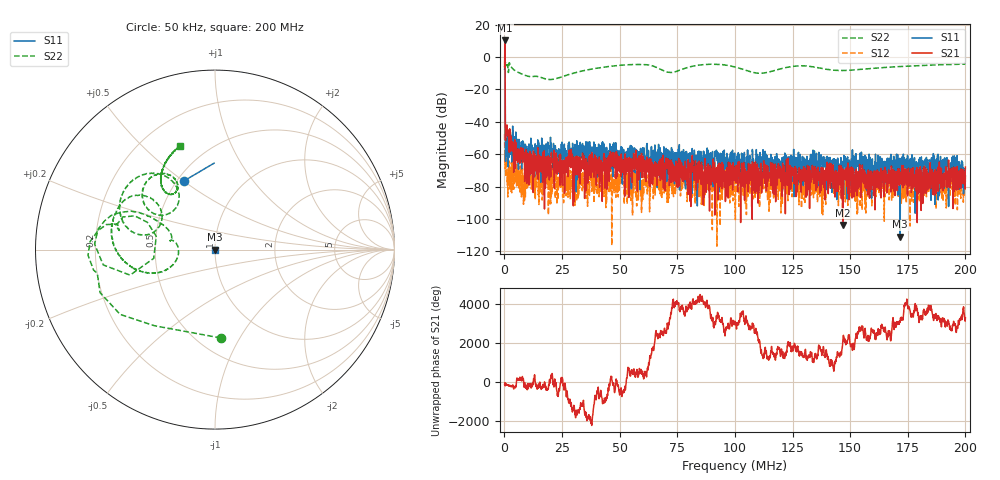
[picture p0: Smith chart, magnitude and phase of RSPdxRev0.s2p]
! 19-Feb-26 1:45:47 PM
! E:\VNA_MEASUREMENTS\RECBLOCK\RSPDXREV0.S2P
! CHANNEL.1
! TR.MEASUREMENT
! CORRECTED.DATA
# GHZ S RI R 50.0
! FREQ.GHZ  S11RE  S11IM  S21RE  S21IM  S12RE  S12IM  S22RE  S22IM
!; PortSelection: Port_12
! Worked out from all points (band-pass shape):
!   2000 points, 50 kHz to 200 MHz, reference 50 ohm
!   highest |S21| = 10.31 dB at 250 kHz (marker M1); lowest = -103.7 dB at 146.8 MHz (marker M2)
!   |S21| within 3 dB of the highest: 178.1 kHz to 255.6 kHz (77.55 kHz wide, 35.8 % of centre)
!   lowest |S11| = -111.1 dB at 171.7 MHz (marker M3), VSWR 1.00, Z = 50 + j7e-05 ohm
!   |S11| at or under -10 dB: 278.5 kHz to end of sweep
!   |S22| runs from -13.9 to -3.0 dB; largest |S21 - S12| = 3.3
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5e-05  -0.1705 0.3839  -0.2409 -0.4316  -0.00245 0.0034  0.0323 -0.4923
0.00025005  1.237 0.5191  -3.066 1.162  -0.000755 0.00052  -0.5282 -0.3614
0.00145035  0.00282 0.00134  -0.00569 -0.000465  2.96e-05 -3.74e-05  -0.4469 0.1881
0.009552376  -0.000914 0.0012  -0.00117 -7.4e-05  0.00015 -6.01e-05  -0.2476 0.0914
0.02875718  -0.000136 -0.000378  -0.00037 -9.52e-05  1.22e-05 -0.000106  -0.2787 -0.1173
0.03175793  0.00129 -4.21e-05  0.000852 -2e-06  5.01e-05 1.7e-05  -0.3213 -0.129
0.03345835  0.00104 0.00073  0.00034 -0.000217  0.000236 -5.4e-05  -0.3469 -0.1303
0.04446111  -9.55e-05 -0.000447  0.000285 -0.000372  9.6e-05 -0.000114  -0.499 -0.072
0.04676168  0.000216 0.000287  0.000497 -4.67e-05  -0.000282 -0.000312  -0.5256 -0.0441
0.06676668  0.000256 0.000378  -6.43e-05 -0.000363  -0.000134 -9.47e-05  -0.3536 0.283
0.07716929  0.000136 0.000531  0.00015 -3.12e-05  -9.5e-06 -8.72e-05  -0.414 0.0832
0.09007251  6.87e-05 -0.000325  0.000318 -2.9e-06  -0.00013 -3.06e-05  -0.5008 0.3385
0.09207301  -0.00016 -0.000822  0.000319 -1.08e-05  -0.000119 -9.5e-05  -0.4693 0.3778
0.09607401  0.000255 0.000253  -7.39e-05 4.91e-05  -0.000267 0.00021  -0.3785 0.4229
0.100075  -0.000201 -0.000316  -0.000132 -0.000242  2.09e-05 -6e-07  -0.2784 0.4101
0.1153788  0.000503 -0.000524  6.56e-05 -0.000196  3.93e-05 1.95e-05  -0.3003 0.1904
0.1333833  -0.000535 0.000474  0.000201 -1.92e-05  -0.000255 0.000131  -0.2794 0.4241
0.1467867  -0.000328 0.000111  4e-07 -6.5e-06  9.92e-05 -9.22e-05  -0.227 0.313
0.1666917  -2.83e-05 -0.000256  0.000281 0.000164  -9.34e-05 -3.78e-05  -0.3017 0.3829
0.1716929  -2.7e-06 7e-07  0.000107 -0.000154  4.62e-05 0.000278  -0.2988 0.4152
0.1912978  -0.00012 -0.000156  8.9e-05 -0.000139  -5.8e-05 -4.94e-05  -0.2395 0.5353
0.2  -0.000172 -0.000131  0.000188 0.000351  0.00021 5.11e-05  -0.1944 0.5768
